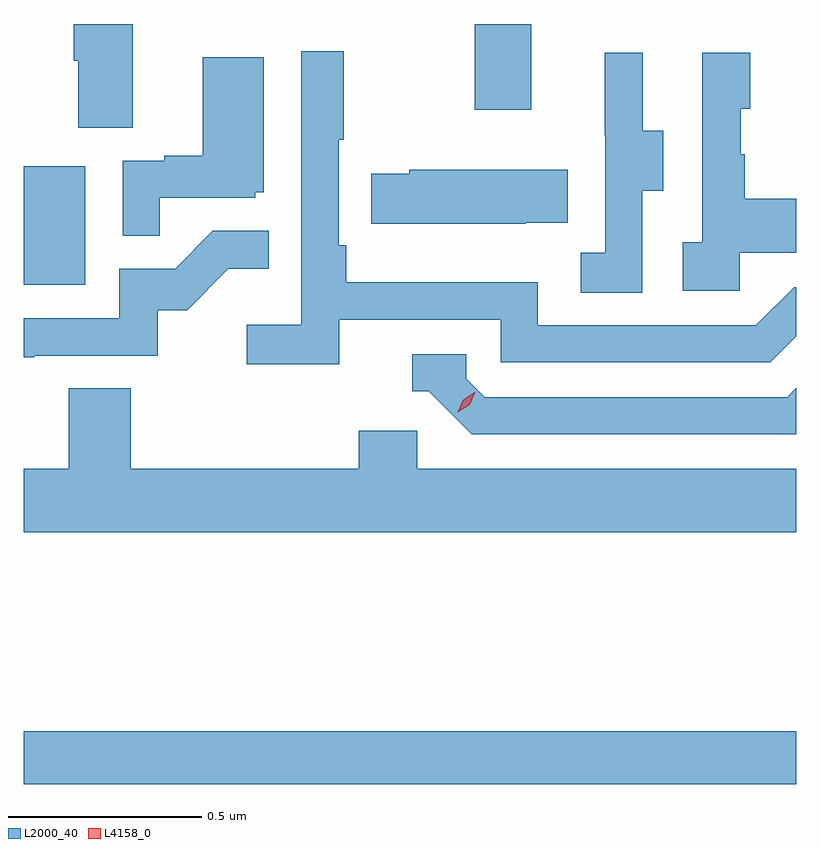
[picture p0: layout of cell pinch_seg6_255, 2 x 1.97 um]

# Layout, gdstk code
import gdstk
lib = gdstk.Library(unit=1e-6, precision=1e-09)
def R(c, l, rs):  # rectangles x0, y0, x1, y1
    for r in rs: c.add(gdstk.rectangle(r[:2], r[2:], *l))
def P(c, l, *ps):  # polygons
    for p in ps: c.add(gdstk.Polygon(p, *l))
L2000_40 = (2000, 40)
L4158_0 = (4158, 0)

pinch_seg6_255 = lib.new_cell('pinch_seg6_255')
R(pinch_seg6_255, L2000_40, [(1124.587,916.048,1126.587,916.184), (1124.587,917.34,1124.746,917.647), (1125.754,917.793,1125.901,918.015)])
P(pinch_seg6_255, L2000_40, [(1124.869,918.015),(1124.717,918.015),(1124.717,917.92),(1124.729,917.92),(1124.729,917.746),(1124.869,917.746)],
  [(1125.404,917.25),(1125.822,917.25),(1125.822,917.139),(1126.519,917.139),(1126.587,917.207),(1126.587,917.334),(1126.581,917.334),(1126.482,917.235),(1125.918,917.235),(1125.918,917.347),(1125.422,917.347),(1125.422,917.443),(1125.402,917.443),(1125.402,917.716),(1125.415,917.716),(1125.415,917.944),(1125.306,917.944),(1125.306,917.236),(1125.165,917.236),(1125.165,917.134),(1125.404,917.134)],
  [(1126.44,917.423),(1126.587,917.423),(1126.587,917.563),(1126.453,917.563),(1126.453,917.678),(1126.443,917.678),(1126.443,917.796),(1126.468,917.796),(1126.468,917.941),(1126.344,917.941),(1126.344,917.45),(1126.293,917.45),(1126.293,917.325),(1126.44,917.325)],
  [(1126.188,917.584),(1126.243,917.584),(1126.243,917.739),(1126.189,917.739),(1126.189,917.941),(1126.091,917.941),(1126.091,917.727),(1126.092,917.727),(1126.092,917.423),(1126.029,917.423),(1126.029,917.32),(1126.188,917.32)],
  [(1124.939,917.565),(1125.186,917.565),(1125.186,917.58),(1125.208,917.58),(1125.208,917.929),(1125.05,917.929),(1125.05,917.674),(1124.951,917.674),(1124.951,917.661),(1124.844,917.661),(1124.844,917.467),(1124.939,917.467)],
  [(1125.887,917.501),(1125.995,917.501),(1125.995,917.638),(1125.585,917.638),(1125.585,917.628),(1125.487,917.628),(1125.487,917.498),(1125.887,917.498)],
  [(1124.615,917.157),(1124.934,917.157),(1124.934,917.274),(1125.01,917.274),(1125.117,917.381),(1125.221,917.381),(1125.221,917.48),(1125.077,917.48),(1124.979,917.382),(1124.835,917.382),(1124.835,917.253),(1124.587,917.253),(1124.587,917.152),(1124.615,917.152)],
  [(1126.587,917.073),(1126.563,917.049),(1125.78,917.049),(1125.732,917.097),(1125.732,917.16),(1125.593,917.16),(1125.593,917.064),(1125.636,917.064),(1125.747,916.953),(1126.587,916.953)],
  [(1126.587,916.864),(1125.606,916.864),(1125.606,916.962),(1125.455,916.962),(1125.455,916.864),(1124.864,916.864),(1124.864,917.072),(1124.704,917.072),(1124.704,916.864),(1124.587,916.864),(1124.587,916.7),(1126.587,916.7)])
P(pinch_seg6_255, L4158_0, [(1125.71,917.01),(1125.71,917.01),(1125.725,917.043),(1125.756,917.063),(1125.756,917.063),(1125.756,917.063),(1125.741,917.03),(1125.71,917.01)])

lib.write_gds('pinch_seg6_255.gds')
